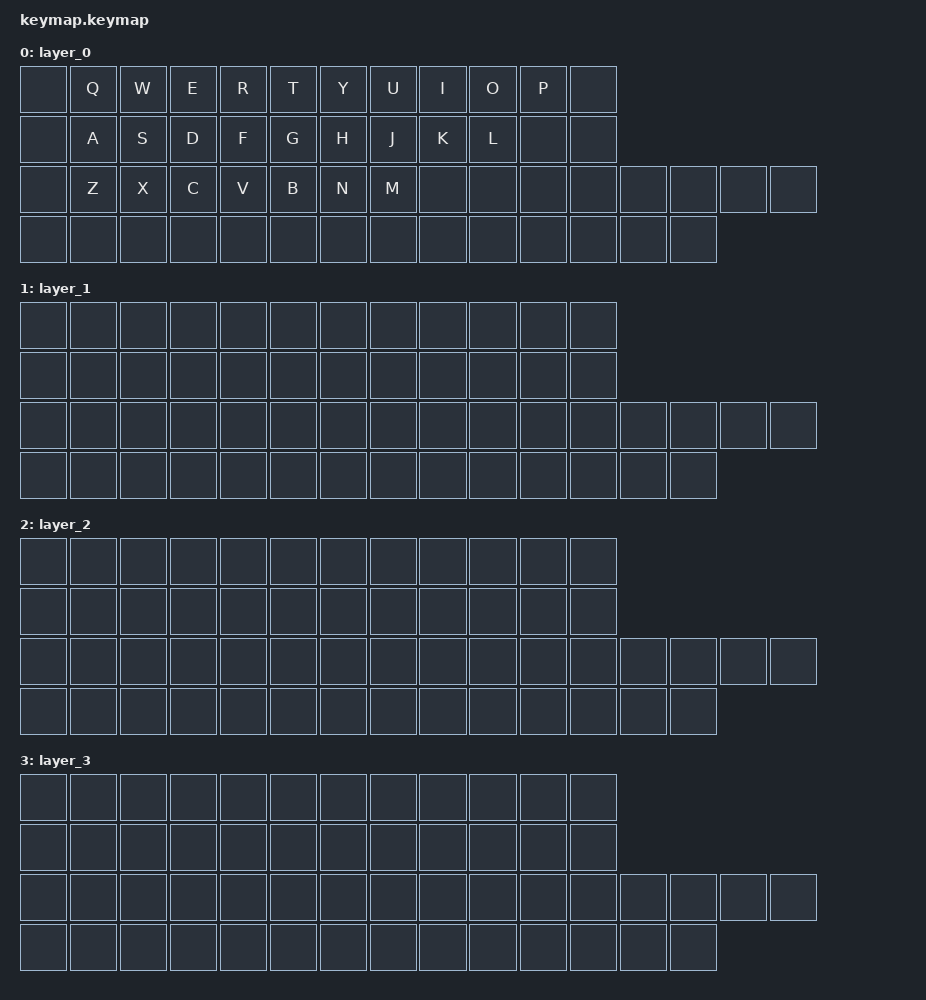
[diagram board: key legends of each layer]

#include <behaviors.dtsi>
#include <dt-bindings/zmk/keys.h>

/ {
    keymap {
        compatible = "zmk,keymap";

		layer_0 {
            bindings = <
                &none     &kp Q     &kp W     &kp E     &kp R     &kp T      &kp Y     &kp U     &kp I     &kp O     &kp P     &none
                &none     &kp A     &kp S     &kp D     &kp F     &kp G      &kp H     &kp J     &kp K     &kp L     &none     &none
                &none     &kp Z     &kp X     &kp C     &kp V     &kp B      &kp N     &kp M     &none     &none     &none     &none     &none &none &none &none
                &none     &none     &none     &none     &none     &none      &none     &none     &none     &none     &none     &none     &none &none
            >;
        };

        layer_1 {
            bindings =<
                &none &none &none &none &none &none &none &none &none &none &none &none
				&none &none &none &none &none &none &none &none &none &none &none &none
				&none &none &none &none &none &none &none &none &none &none &none &none &none &none &none &none
				&none &none &none &none &none &none &none &none &none &none &none &none &none &none
            >;
        };

        layer_2 {
            bindings =<
                &none &none &none &none &none &none &none &none &none &none &none &none
				&none &none &none &none &none &none &none &none &none &none &none &none
				&none &none &none &none &none &none &none &none &none &none &none &none &none &none &none &none
				&none &none &none &none &none &none &none &none &none &none &none &none &none &none
            >;
        };

        layer_3 {
            bindings =<
                &none &none &none &none &none &none &none &none &none &none &none &none
				&none &none &none &none &none &none &none &none &none &none &none &none
				&none &none &none &none &none &none &none &none &none &none &none &none &none &none &none &none
				&none &none &none &none &none &none &none &none &none &none &none &none &none &none
            >;
        };
    };
};
